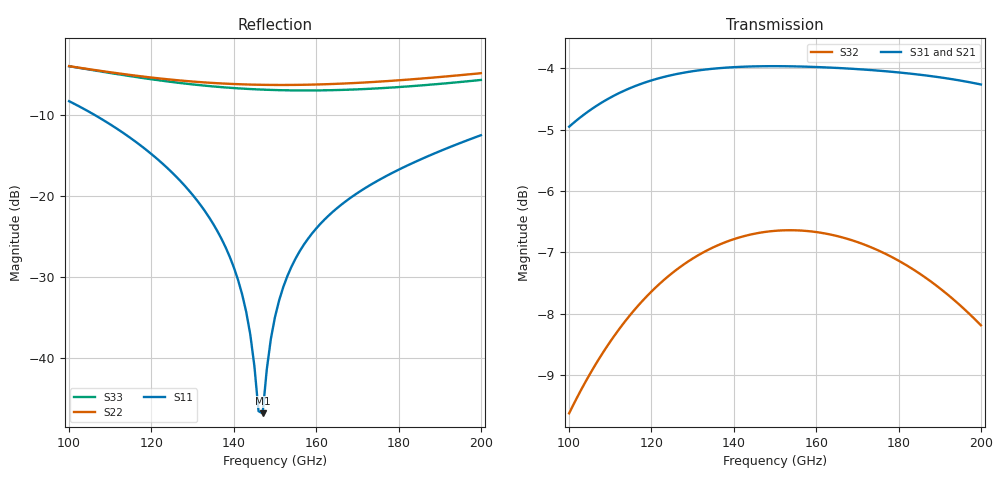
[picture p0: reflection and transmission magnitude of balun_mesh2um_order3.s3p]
! Created with skrf 2.2.0 (http://scikit-rf.org).
# GHz S DB R 50.0
! Port[1] = P1
! Port[2] = P2
! Port[3] = P3
!freq dBS11 angS11 dBS12 angS12 dBS13 angS13
! dBS21 angS21 dBS22 angS22 dBS23 angS23
! dBS31 angS31 dBS32 angS32 dBS33 angS33
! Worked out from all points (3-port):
!   101 points, 100 GHz to 200 GHz, reference 50 ohm
!   strongest paths, dB at 100 GHz, 125 GHz, 150 GHz, 175 GHz, 200 GHz:
!     S31: -5.0, -4.1, -4.0, -4.0, -4.3
!     S21: -4.7, -4.0, -4.0, -4.2, -4.7
!     S32: -9.6, -7.3, -6.6, -7.0, -8.2
!   lowest |S11| = -46.8 dB at 147 GHz (marker M1), VSWR 1.01, Z = 49.6 - j0.164 ohm
!   |S11| at or under -10 dB: 106.2 GHz to end of sweep
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100  -8.29 129.7  -4.71 -10.7  -4.95 165.7
     -4.71 -10.7  -3.97 60.0  -9.62 91.0
     -4.95 165.7  -9.62 91.0  -3.97 50.2
135  -23.46 90.7  -3.95 -61.6  -4.01 111.9
     -3.95 -61.6  -6.04 31.2  -6.92 40.7
     -4.01 111.9  -6.92 40.7  -6.47 17.2
142  -32.11 90.8  -3.95 -70.6  -3.98 102.3
     -3.95 -70.6  -6.21 26.3  -6.74 31.7
     -3.98 102.3  -6.74 31.7  -6.74 11.9
144  -37.12 96.4  -3.96 -73.1  -3.97 99.6
     -3.96 -73.1  -6.24 24.9  -6.71 29.2
     -3.97 99.6  -6.71 29.2  -6.79 10.3
146  -46.58 133.7  -3.96 -75.6  -3.97 97.0
     -3.96 -75.6  -6.26 23.5  -6.68 26.7
     -3.97 97.0  -6.68 26.7  -6.84 8.9
147  -46.84 -158.6  -3.97 -76.9  -3.97 95.7
     -3.97 -76.9  -6.27 22.7  -6.67 25.4
     -3.97 95.7  -6.67 25.4  -6.86 8.1
150  -34.94 -115.7  -3.98 -80.6  -3.97 91.7
     -3.98 -80.6  -6.29 20.6  -6.65 21.7
     -3.97 91.7  -6.65 21.7  -6.92 5.9
155  -27.72 -111.6  -4.01 -86.7  -3.97 85.3
     -4.01 -86.7  -6.28 17.0  -6.64 15.6
     -3.97 85.3  -6.64 15.6  -6.96 2.2
164  -21.97 -113.6  -4.08 -97.5  -3.99 73.8
     -4.08 -97.5  -6.17 10.2  -6.72 4.8
     -3.99 73.8  -6.72 4.8  -6.93 -4.6
200  -12.50 -131.2  -4.65 -140.7  -4.26 28.4
     -4.65 -140.7  -4.84 -20.5  -8.19 -37.4
     -4.26 28.4  -8.19 -37.4  -5.67 -34.6
